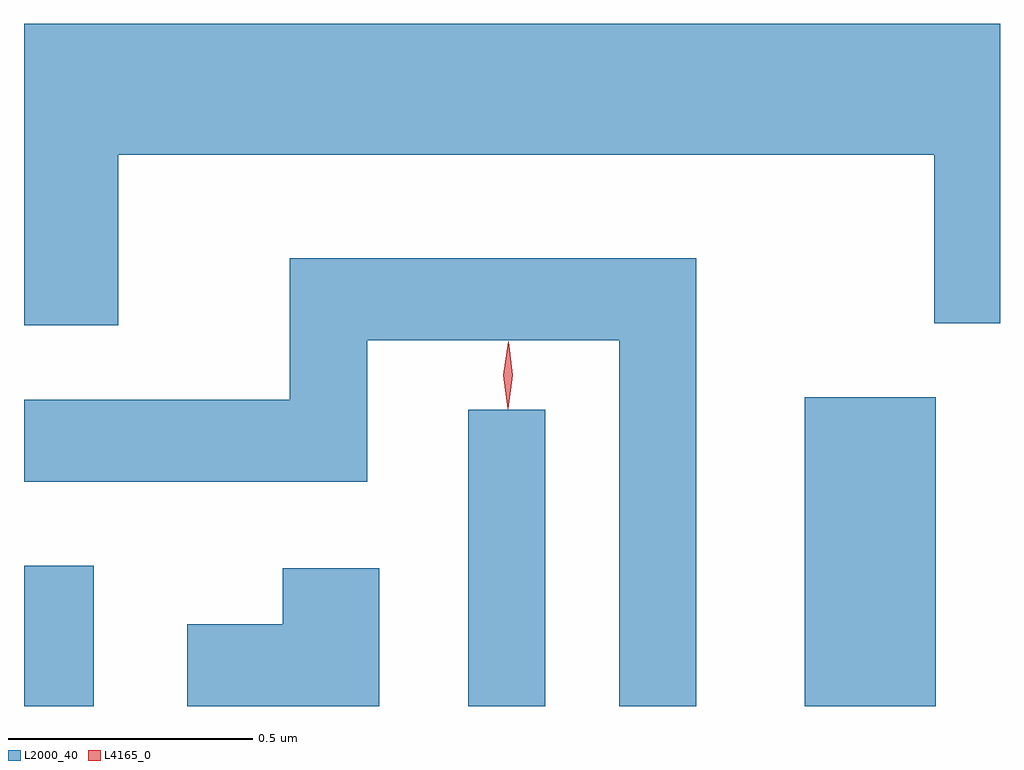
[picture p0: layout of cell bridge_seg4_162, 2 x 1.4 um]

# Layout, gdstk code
import gdstk
lib = gdstk.Library(unit=1e-6, precision=1e-09)
def R(c, l, rs):  # rectangles x0, y0, x1, y1
    for r in rs: c.add(gdstk.rectangle(r[:2], r[2:], *l))
def P(c, l, *ps):  # polygons
    for p in ps: c.add(gdstk.Polygon(p, *l))
L2000_40 = (2000, 40)
L4165_0 = (4165, 0)

bridge_seg4_162 = lib.new_cell('bridge_seg4_162')
R(bridge_seg4_162, L2000_40, [(951.806,1318.026,951.949,1318.314), (952.716,1318.026,952.874,1318.633), (953.406,1318.026,953.674,1318.659)])
P(bridge_seg4_162, L2000_40, [(951.999,1319.156),(953.671,1319.156),(953.671,1318.811),(953.806,1318.811),(953.806,1319.424),(951.806,1319.424),(951.806,1318.806),(951.999,1318.806)],
  [(953.184,1318.944),(952.351,1318.944),(952.351,1318.654),(951.806,1318.654),(951.806,1318.486),(952.509,1318.486),(952.509,1318.776),(953.026,1318.776),(953.026,1318.026),(953.184,1318.026)],
  [(952.534,1318.309),(952.336,1318.309),(952.336,1318.194),(952.141,1318.194),(952.141,1318.026),(952.534,1318.026)])
P(bridge_seg4_162, L4165_0, [(952.798,1318.634),(952.797,1318.635),(952.788,1318.704),(952.798,1318.773),(952.798,1318.774),(952.799,1318.773),(952.808,1318.704),(952.798,1318.635)])

lib.write_gds('bridge_seg4_162.gds')
